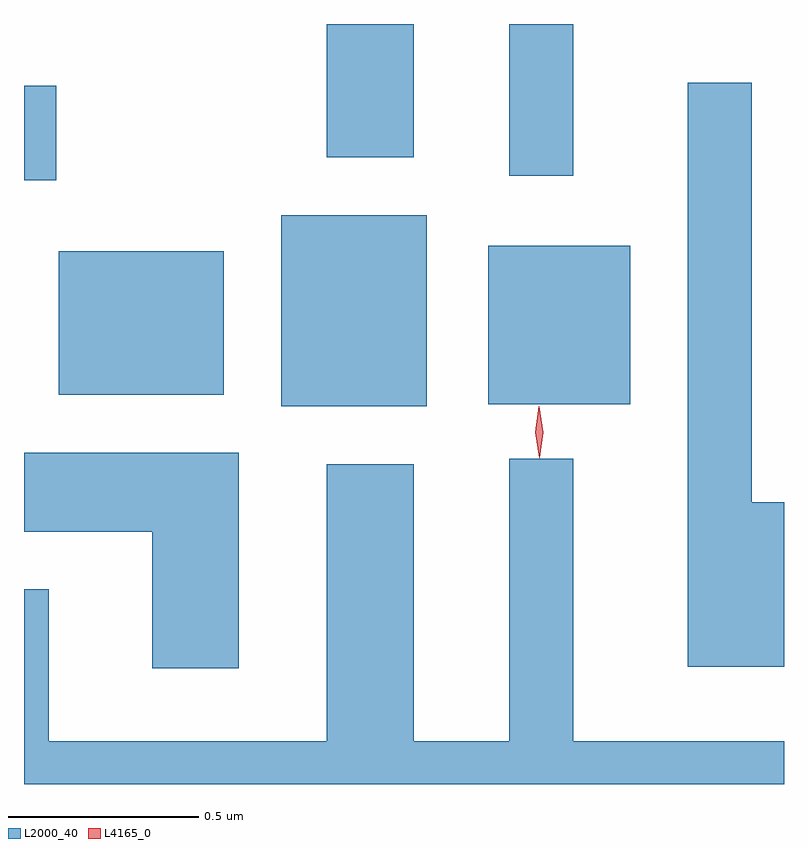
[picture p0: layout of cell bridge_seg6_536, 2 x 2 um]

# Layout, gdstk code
import gdstk
lib = gdstk.Library(unit=1e-6, precision=1e-09)
def R(c, l, rs):  # rectangles x0, y0, x1, y1
    for r in rs: c.add(gdstk.rectangle(r[:2], r[2:], *l))
def P(c, l, *ps):  # polygons
    for p in ps: c.add(gdstk.Polygon(p, *l))
L2000_40 = (2000, 40)
L4165_0 = (4165, 0)

bridge_seg6_536 = lib.new_cell('bridge_seg6_536')
R(bridge_seg6_536, L2000_40, [(966.961,1595.586,967.344,1596.089), (967.506,1595.591,967.879,1596.009), (966.376,1595.616,966.809,1595.994), (966.284,1596.181,966.369,1596.429), (967.561,1596.193,967.729,1596.592), (967.081,1596.241,967.309,1596.592)])
P(bridge_seg6_536, L2000_40, [(968.284,1595.334),(968.199,1595.334),(968.199,1596.438),(968.031,1596.438),(968.031,1594.901),(968.284,1594.901)],
  [(966.849,1595.464),(966.284,1595.464),(966.284,1595.256),(966.621,1595.256),(966.621,1594.896),(966.849,1594.896)],
  [(968.284,1594.704),(967.729,1594.704),(967.729,1595.448),(967.561,1595.448),(967.561,1594.704),(967.309,1594.704),(967.309,1595.434),(967.081,1595.434),(967.081,1594.704),(966.349,1594.704),(966.349,1595.104),(966.284,1595.104),(966.284,1594.592),(968.284,1594.592)])
P(bridge_seg6_536, L4165_0, [(967.641,1595.449),(967.64,1595.45),(967.63,1595.518),(967.639,1595.586),(967.64,1595.586),(967.64,1595.586),(967.65,1595.518),(967.641,1595.45)],
  [(967.64,1595.453),(967.63,1595.517),(967.639,1595.581),(967.64,1595.582),(967.64,1595.581),(967.65,1595.517),(967.641,1595.453),(967.641,1595.453)])

lib.write_gds('bridge_seg6_536.gds')
